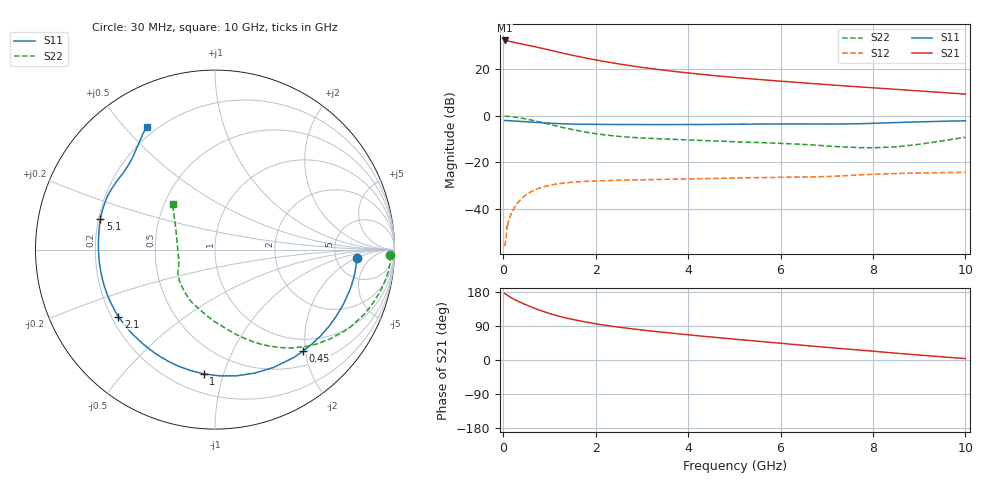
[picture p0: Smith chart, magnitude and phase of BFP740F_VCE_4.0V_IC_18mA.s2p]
! Infineon Technologies  Discrete & RF Semiconductors
! BFP740F
! VCE =  4.0 V,  IC =  18 mA
! Common Emitter S-Parameters:  Oct 2012
# GHz  S  MA  R  50
!  f  S11  S21  S12  S22
! GHz  MAG  ANG  MAG  ANG  MAG  ANG  MAG  ANG
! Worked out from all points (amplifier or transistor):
!   99 points, 30 MHz to 10 GHz, reference 50 ohm
!   highest |S21| = 32.3 dB at 30 MHz (marker M1)
!   |S21| within 3 dB of that: start of sweep to 755.6 MHz
!   unconditionally stable (mu >= 1): 6.018 GHz to end of sweep
!   at 350 MHz: K = 0.16, MSG = 33.7 dB, |S12| = -36.5 dB
!   at 3.5 GHz: K = 0.65, MSG = 23.4 dB, |S12| = -27.3 dB
!   at 10 GHz: K = 1.21, MAG = 14.0 dB, |S12| = -24.3 dB
!   S11 on the Smith chart (normalised r, x): 30 MHz: 8.14, -2.07; 450 MHz: 0.75, -1.95; 1 GHz: 0.32, -0.86; 2.1 GHz: 0.23, -0.30; 5.1 GHz: 0.21, +0.13; 10 GHz: 0.16, +0.58
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0.03  0.7932 -3.4  41.26 175.9  0.0016 60.0  0.9771 -1.8
0.05  0.7911 -5.8  41.26 174.3  0.002 77.3  0.9766 -3.3
0.09  0.7885 -10.5  40.56 170.8  0.0039 66.0  0.9747 -6.4
0.15  0.783 -17.5  39.29 166.0  0.007 78.5  0.9618 -10.8
0.2  0.7774 -23.1  38.18 162.5  0.0091 75.5  0.9496 -14.2
0.3  0.7658 -33.8  36.32 156.3  0.0131 70.4  0.9198 -20.6
0.45  0.7496 -49.1  33.85 147.9  0.0189 64.4  0.8705 -29.5
0.6  0.7333 -63.5  31.56 140.2  0.0235 57.9  0.8126 -37.7
0.7  0.723 -72.1  30.03 135.5  0.0263 54.1  0.773 -42.9
0.8  0.7132 -80.5  28.57 130.9  0.0286 50.8  0.7332 -47.6
1  0.6952 -95.2  25.71 122.9  0.0322 44.6  0.6569 -56.2
1.3  0.6738 -113.2  21.95 112.7  0.036 37.4  0.5579 -67.2
1.5  0.6643 -123.0  19.84 107.2  0.0376 34.0  0.5057 -73.5
1.7  0.6582 -131.5  18.05 102.2  0.0388 31.3  0.4626 -79.2
2.1  0.6549 -145.2  15.16 93.6  0.0406 26.8  0.4016 -90.3
2.6  0.6502 -157.7  12.5 85.1  0.0417 23.8  0.3553 -101.0
3.4  0.6479 -172.2  9.712 73.9  0.0432 21.2  0.3208 -113.7
4.2  0.6506 176.3  7.913 64.1  0.0446 20.0  0.2982 -122.4
5.1  0.661 164.9  6.522 54.0  0.0463 19.3  0.2758 -132.1
6.7  0.6666 146.5  4.905 36.6  0.049 19.5  0.2367 -150.4
8.5  0.7152 127.5  3.69 18.0  0.0578 18.5  0.216 168.5
10  0.7813 118.8  2.916 3.7  0.0612 14.1  0.3463 133.0
